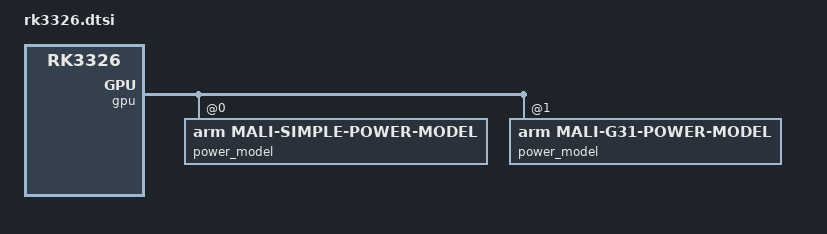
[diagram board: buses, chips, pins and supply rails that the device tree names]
// SPDX-License-Identifier: (GPL-2.0+ OR MIT)
/*
 * Copyright (c) 2020 Fuzhou Rockchip Electronics Co., Ltd
 */

#include "px30.dtsi"

/ {
	reserved-memory {
		#address-cells = <2>;
		#size-cells = <2>;
		ranges;

		linux,cma {
			compatible = "shared-dma-pool";
			reusable;
			size = <0x0 0x4000000>;	/* 64 MiB */
			linux,cma-default;
		};
	};

	dfi: dfi@ff610000 {
		compatible = "rockchip,px30-dfi";
		reg = <0x0 0xff610000 0x0 0x400>;
		rockchip,pmu = <&pmugrf>;
	};

	dmc: dmc {
		compatible = "rockchip,px30-dmc";
		interrupts = <GIC_SPI 105 IRQ_TYPE_LEVEL_HIGH>;
		interrupt-names = "complete";
		devfreq-events = <&dfi>;
		operating-points-v2 = <&dmc_opp_table>;
		status = "disabled";
	};

	dmc_opp_table: opp-table-dmc {
		compatible = "operating-points-v2";

		opp-194000000 {
			opp-hz = /bits/ 64 <194000000>;
			opp-microvolt = <950000>;
		};

		opp-328000000 {
			opp-hz = /bits/ 64 <328000000>;
			opp-microvolt = <950000>;
		};

		opp-450000000 {
			opp-hz = /bits/ 64 <450000000>;
			opp-microvolt = <950000>;
		};

		opp-528000000 {
			opp-hz = /bits/ 64 <528000000>;
			opp-microvolt = <975000>;
		};

		opp-666000000 {
			opp-hz = /bits/ 64 <666000000>;
			opp-microvolt = <1050000>;
		};
	};
};

&display_subsystem {
	ports = <&vopb_out>;
};

/delete-node/ &dsi_in_vopl;
/delete-node/ &lvds_vopl_in;
/delete-node/ &vopl;
/delete-node/ &vopl_mmu;

&cpu0_opp_table {
	opp-1416000000 {
		opp-hz = /bits/ 64 <1416000000>;
		opp-microvolt = <1350000 1350000 1350000>;
		clock-latency-ns = <40000>;
		turbo-mode;
	};
};

&gpu_opp_table {
	/delete-node/ opp-200000000;
	/delete-node/ opp-300000000;
	/delete-node/ opp-400000000;
	/delete-node/ opp-480000000;

	opp-560000000 {
		opp-hz = /bits/ 64 <560000000>;
		opp-microvolt = <1150000>;
	};
};

&gpu {
	clock-names = "bus";
	resets = <&cru SRST_GPU>;
	power_policy = "coarse_demand";

	power_model@0 {
		compatible = "arm,mali-simple-power-model";
		static-coefficient = <100000>;
		dynamic-coefficient = <953>;
		ts = <(-108890) 63610 (-1355) 20>;
		thermal-zone = "gpu-thermal";
	};

	power_model@1 {
		compatible = "arm,mali-g31-power-model";
		scale = <5>;
	};
};

&usb20_otg {
	usb-role-switch;
	role-switch-default-mode = "host";
};
